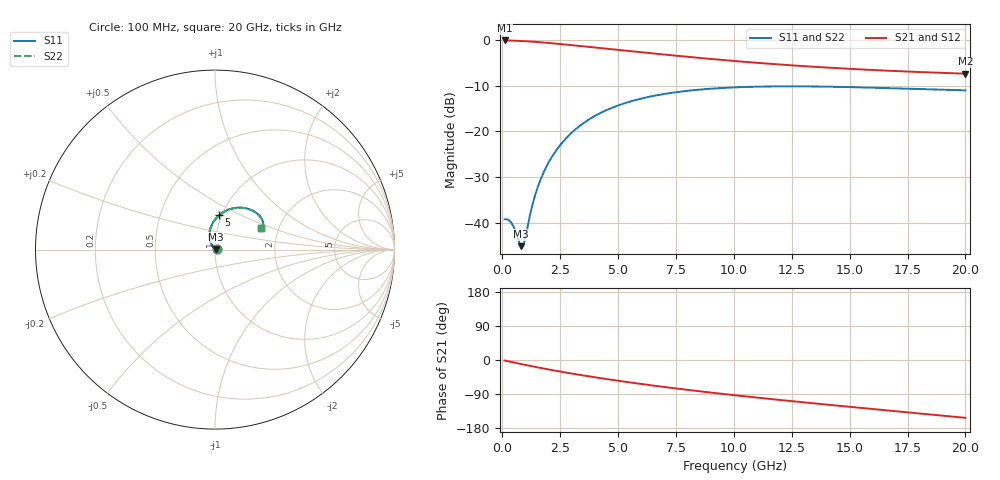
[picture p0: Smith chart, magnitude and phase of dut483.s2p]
! Touchstone file exported from HFSS 2024.1.0
!  File:  C:/UserFiles/LocalFiles/RDL_TSV_Batchsim/temp_RDL_TSV_483_1779733074.aedt
!  Generated:  02:35:31 AM May 26, 2026
!  Design:  RDL_TSV
!  Project:  temp_RDL_TSV_483_1779733074
!  Setup:  Setup1
!  Solution:  Sweep
! Variables:
!  dtsv = 6.76um
!  hbump = 3um
!  htsv = 92.89um
!  ldown = 381.6um
!  lrdl = 178.63um
!  p = 40
!  p1 = 48.66um
!  rhole = 10um
!  subl = 1859.32um
!  t = 450um
!  tdown = 3.48um
!  trdl = 3.3um
!  viad = 10um
!  wdown = 24.17um
!  wrdl = 17.43um
!  xbump = 18um
# GHz S MA R 50.000000
! Terminal data exported
! Port[1] = TM1_1_T1
! Port[2] = TM1_4_T1
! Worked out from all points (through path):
!   200 points, 100 MHz to 20 GHz, reference 50 ohm
!   highest |S21| = -0.10 dB at 100 MHz (marker M1); lowest = -7.4 dB at 20 GHz (marker M2)
!   group delay of S21, straight-line fit = 20 ps
!   lowest |S11| = -45.1 dB at 800 MHz (marker M3), VSWR 1.01, Z = 50.4 + j0.421 ohm
!   |S11| at or under -10 dB: start of sweep to end of sweep
!   |S22| runs from -45.1 to -10.1 dB; largest |S21 - S12| = 9.9e-15
!   S11 on the Smith chart (normalised r, x): 100 MHz: 1.02, +0.00; 5 GHz: 0.97, +0.39; 20 GHz: 1.62, +0.42
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0.1  0.01098 3.4  0.9887 -1.4  0.9887 -1.4  0.01098 3.4
! Gamma 0 0 0 0
! Port Impedance 50 0 50 0
0.3  0.01064 7.6  0.9864 -4.0  0.9864 -4.0  0.01064 7.5
0.4  0.009963 9.6  0.9848 -5.3  0.9848 -5.3  0.009966 9.5
0.5  0.00896 12.9  0.983 -6.6  0.983 -6.6  0.008963 12.8
0.8  0.00557 48.6  0.9759 -10.5  0.9759 -10.5  0.005569 48.5
0.9  0.005633 74.0  0.973 -11.8  0.973 -11.8  0.005627 73.9
1  0.006982 96.1  0.9699 -13.0  0.9699 -13.0  0.006968 96.0
1.2  0.01227 117.3  0.9629 -15.5  0.9629 -15.5  0.01225 117.3
1.4  0.01934 123.5  0.9551 -18.0  0.9551 -18.0  0.01931 123.5
1.6  0.02745 124.7  0.9467 -20.4  0.9467 -20.4  0.02741 124.7
1.9  0.04096 122.9  0.9331 -23.9  0.9331 -23.9  0.04091 122.9
2.2  0.05561 119.5  0.9187 -27.2  0.9187 -27.2  0.05555 119.6
2.6  0.07615 114.2  0.8988 -31.6  0.8988 -31.6  0.07608 114.2
3.5  0.1231 101.6  0.8532 -40.8  0.8532 -40.8  0.123 101.6
4.2  0.1574 92.5  0.8184 -47.5  0.8184 -47.5  0.1573 92.6
5  0.1924 83.2  0.7801 -54.8  0.7801 -54.8  0.1923 83.2
6.8  0.2521 66.0  0.7013 -69.7  0.7013 -69.7  0.252 66.0
8.4  0.285 54.3  0.641 -81.7  0.641 -81.7  0.2849 54.3
10.1  0.3039 44.6  0.5874 -93.4  0.5874 -93.4  0.3038 44.6
13.4  0.3106 32.1  0.5107 -114.1  0.5107 -114.1  0.3105 32.1
16.7  0.2973 26.0  0.461 -133.5  0.461 -133.5  0.2972 26.0
20  0.2818 25.3  0.4285 -152.6  0.4285 -152.6  0.2817 25.3
